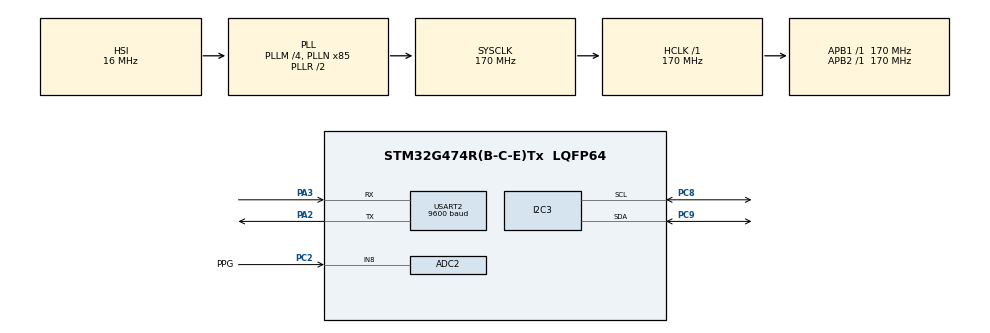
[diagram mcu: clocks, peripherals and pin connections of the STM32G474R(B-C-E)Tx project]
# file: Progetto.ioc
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<<<<<<< HEAD
ADC2.Channel-0\#ChannelRegularConversion=ADC_CHANNEL_8
ADC2.ClockPrescaler=ADC_CLOCK_ASYNC_DIV4
ADC2.DMAContinuousRequests=ENABLE
ADC2.ExternalTrigConv=ADC_EXTERNALTRIG_T2_TRGO
ADC2.NbrOfConversionFlag=1
ADC2.OffsetNumber-0\#ChannelRegularConversion=ADC_OFFSET_NONE
ADC2.Overrun=ADC_OVR_DATA_OVERWRITTEN
ADC2.Rank-0\#ChannelRegularConversion=1
ADC2.SamplingTime-0\#ChannelRegularConversion=ADC_SAMPLETIME_2CYCLES_5
Dma.ADC2.0.Direction=DMA_PERIPH_TO_MEMORY
Dma.ADC2.0.EventEnable=DISABLE
Dma.ADC2.0.Instance=DMA1_Channel1
Dma.ADC2.0.MemDataAlignment=DMA_MDATAALIGN_HALFWORD
Dma.ADC2.0.MemInc=DMA_MINC_ENABLE
Dma.ADC2.0.Mode=DMA_CIRCULAR
Dma.ADC2.0.PeriphDataAlignment=DMA_PDATAALIGN_HALFWORD
Dma.ADC2.0.PeriphInc=DMA_PINC_DISABLE
Dma.ADC2.0.Polarity=HAL_DMAMUX_REQ_GEN_RISING
Dma.ADC2.0.Priority=DMA_PRIORITY_LOW
Dma.ADC2.0.RequestNumber=1
Dma.ADC2.0.SignalID=NONE
Dma.ADC2.0.SyncEnable=DISABLE
Dma.ADC2.0.SyncPolarity=HAL_DMAMUX_SYNC_NO_EVENT
Dma.ADC2.0.SyncRequestNumber=1
Dma.ADC2.0.SyncSignalID=NONE
Dma.Request0=ADC2
I2C3.Timing=0x30A0A7FB
Mcu.Family=STM32G4
Mcu.Name=STM32G474R(B-C-E)Tx
Mcu.Package=LQFP64
NVIC.DMA1_Channel1_IRQn=true\:0\:0\:false\:false\:true\:false\:true\:true
NVIC.PriorityGroup=NVIC_PRIORITYGROUP_4
NVIC.TIM3_IRQn=true\:0\:0\:false\:false\:true\:true\:true\:true
PA2.Mode=Asynchronous
PA2.Signal=USART2_TX
PA3.Mode=Asynchronous
PA3.Signal=USART2_RX
PC2.GPIO_Label=PPG
PC2.Mode=IN8-Single-Ended
PC2.Signal=ADC2_IN8
PC8.GPIO_Pu=GPIO_PULLUP
PC8.Mode=I2C
PC8.Signal=I2C3_SCL
PC9.GPIO_Pu=GPIO_PULLUP
PC9.Mode=I2C
PC9.Signal=I2C3_SDA
ProjectManager.HeapSize=0x200
ProjectManager.StackSize=0x400
ProjectManager.TargetToolchain=STM32CubeIDE
RCC.ADC12Freq_Value=170000000
RCC.ADC345Freq_Value=170000000
RCC.AHBFreq_Value=170000000
RCC.APB1Freq_Value=170000000
RCC.APB1TimFreq_Value=170000000
RCC.APB2Freq_Value=170000000
RCC.APB2TimFreq_Value=170000000
RCC.CortexFreq_Value=170000000
RCC.EXTERNAL_CLOCK_VALUE=12288000
RCC.HCLKFreq_Value=170000000
RCC.HSE_VALUE=24000000
RCC.HSI48_VALUE=48000000
RCC.HSI_VALUE=16000000
RCC.LSE_VALUE=32768
RCC.PLLM=RCC_PLLM_DIV4
RCC.PLLN=85
RCC.RTCClockSelection=RCC_RTCCLKSOURCE_LSE
RCC.SYSCLKFreq_VALUE=170000000
RCC.SYSCLKSource=RCC_SYSCLKSOURCE_PLLCLK
RCC.USBFreq_Value=170000000
RCC.VCOOutputFreq_Value=340000000
TIM2.PeriodNoDither=9999
TIM2.Prescaler=169
TIM2.TIM_MasterOutputTrigger=TIM_TRGO_UPDATE
TIM2.TIM_MasterSlaveMode=TIM_MASTERSLAVEMODE_ENABLE
TIM3.ClockDivision=TIM_CLOCKDIVISION_DIV4
TIM3.PeriodNoDither=2999
TIM3.Prescaler=65535
TIM3.TIM_MasterOutputTrigger=TIM_TRGO_ENCODER_CLK
TIM3.TIM_MasterSlaveMode=TIM_MASTERSLAVEMODE_ENABLE
USART2.BaudRate=9600
USART2.VirtualMode-Asynchronous=VM_ASYNC
VP_SYS_VS_DBSignals.Mode=DisableDeadBatterySignals
VP_TIM2_VS_ClockSourceINT.Mode=Internal
VP_TIM3_VS_ClockSourceINT.Mode=Internal
board=NUCLEO-G474RE
=======
ADC2.Channel-0\#ChannelRegularConversion=ADC_CHANNEL_8
ADC2.ClockPrescaler=ADC_CLOCK_ASYNC_DIV4
ADC2.DMAContinuousRequests=ENABLE
ADC2.ExternalTrigConv=ADC_EXTERNALTRIG_T2_TRGO
ADC2.NbrOfConversionFlag=1
ADC2.OffsetNumber-0\#ChannelRegularConversion=ADC_OFFSET_NONE
ADC2.Overrun=ADC_OVR_DATA_OVERWRITTEN
ADC2.Rank-0\#ChannelRegularConversion=1
ADC2.SamplingTime-0\#ChannelRegularConversion=ADC_SAMPLETIME_2CYCLES_5
Dma.ADC2.0.Direction=DMA_PERIPH_TO_MEMORY
Dma.ADC2.0.EventEnable=DISABLE
Dma.ADC2.0.Instance=DMA1_Channel1
Dma.ADC2.0.MemDataAlignment=DMA_MDATAALIGN_HALFWORD
Dma.ADC2.0.MemInc=DMA_MINC_ENABLE
Dma.ADC2.0.Mode=DMA_CIRCULAR
Dma.ADC2.0.PeriphDataAlignment=DMA_PDATAALIGN_HALFWORD
Dma.ADC2.0.PeriphInc=DMA_PINC_DISABLE
Dma.ADC2.0.Polarity=HAL_DMAMUX_REQ_GEN_RISING
Dma.ADC2.0.Priority=DMA_PRIORITY_LOW
Dma.ADC2.0.RequestNumber=1
Dma.ADC2.0.SignalID=NONE
Dma.ADC2.0.SyncEnable=DISABLE
Dma.ADC2.0.SyncPolarity=HAL_DMAMUX_SYNC_NO_EVENT
Dma.ADC2.0.SyncRequestNumber=1
Dma.ADC2.0.SyncSignalID=NONE
Dma.Request0=ADC2
I2C3.Timing=0x30A0A7FB
Mcu.Family=STM32G4
Mcu.Name=STM32G474R(B-C-E)Tx
Mcu.Package=LQFP64
NVIC.DMA1_Channel1_IRQn=true\:0\:0\:false\:false\:true\:false\:true\:true
NVIC.PriorityGroup=NVIC_PRIORITYGROUP_4
NVIC.TIM3_IRQn=true\:0\:0\:false\:false\:true\:true\:true\:true
PA2.Mode=Asynchronous
PA2.Signal=USART2_TX
PA3.Mode=Asynchronous
PA3.Signal=USART2_RX
PC2.GPIO_Label=PPG
PC2.Mode=IN8-Single-Ended
PC2.Signal=ADC2_IN8
PC8.GPIO_Pu=GPIO_PULLUP
PC8.Mode=I2C
PC8.Signal=I2C3_SCL
PC9.GPIO_Pu=GPIO_PULLUP
PC9.Mode=I2C
PC9.Signal=I2C3_SDA
ProjectManager.HeapSize=0x200
ProjectManager.StackSize=0x400
ProjectManager.TargetToolchain=STM32CubeIDE
RCC.ADC12Freq_Value=170000000
RCC.ADC345Freq_Value=170000000
RCC.AHBFreq_Value=170000000
RCC.APB1Freq_Value=170000000
RCC.APB1TimFreq_Value=170000000
RCC.APB2Freq_Value=170000000
RCC.APB2TimFreq_Value=170000000
RCC.CortexFreq_Value=170000000
RCC.EXTERNAL_CLOCK_VALUE=12288000
RCC.HCLKFreq_Value=170000000
RCC.HSE_VALUE=24000000
RCC.HSI48_VALUE=48000000
RCC.HSI_VALUE=16000000
RCC.LSE_VALUE=32768
RCC.PLLM=RCC_PLLM_DIV4
RCC.PLLN=85
RCC.RTCClockSelection=RCC_RTCCLKSOURCE_LSE
RCC.SYSCLKFreq_VALUE=170000000
RCC.SYSCLKSource=RCC_SYSCLKSOURCE_PLLCLK
RCC.USBFreq_Value=170000000
RCC.VCOOutputFreq_Value=340000000
TIM2.PeriodNoDither=9999
TIM2.Prescaler=169
TIM2.TIM_MasterOutputTrigger=TIM_TRGO_UPDATE
TIM2.TIM_MasterSlaveMode=TIM_MASTERSLAVEMODE_ENABLE
TIM3.ClockDivision=TIM_CLOCKDIVISION_DIV4
TIM3.PeriodNoDither=2999
TIM3.Prescaler=65535
TIM3.TIM_MasterOutputTrigger=TIM_TRGO_ENCODER_CLK
TIM3.TIM_MasterSlaveMode=TIM_MASTERSLAVEMODE_ENABLE
USART2.BaudRate=9600
USART2.VirtualMode-Asynchronous=VM_ASYNC
VP_SYS_VS_DBSignals.Mode=DisableDeadBatterySignals
VP_TIM2_VS_ClockSourceINT.Mode=Internal
VP_TIM3_VS_ClockSourceINT.Mode=Internal
board=NUCLEO-G474RE
>>>>>>> 28daf54cedc09e66b1e0ef93a39caefa831e352b

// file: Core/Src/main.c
/* USER CODE BEGIN Header */
/**
  ******************************************************************************
  * @file           : main.c
  * @brief          : Main program body
  ******************************************************************************
  * @attention
  *
  * Copyright (c) 2024 STMicroelectronics.
  * All rights reserved.
  *
  * This software is licensed under terms that can be found in the LICENSE file
  * in the root directory of this software component.
  * If no LICENSE file comes with this software, it is provided AS-IS.
  *
  ******************************************************************************
  */
/* USER CODE END Header */
#include "main.h"
#include "adc.h"
#include "dma.h"
#include "i2c.h"
#include "tim.h"
#include "usart.h"
#include "gpio.h"

/* USER CODE BEGIN Includes */
#include "ssd1306.h"
#include "math.h"
#include "stdio.h"
#include "string.h"
#include <stdio.h>
#include "plot.h"
#include "ds3231.h"
/* USER CODE END Includes */

/* USER CODE BEGIN PV */
Date_Time date;
uint16_t data_out;
PlotData graph;
float peaks_x[MAX_POINTS];
float peaks_y[MAX_POINTS];
int num_peaks=0;
volatile int tim2_seconds_counter = 0;

/* USER CODE END PV */

void SystemClock_Config(void);

int main(void)
{

  /* MCU Configuration--------------------------------------------------------*/

  /* Reset of all peripherals, Initializes the Flash interface and the Systick. */
  HAL_Init();

  /* Configure the system clock */
  SystemClock_Config();

  /* Initialize all configured peripherals */
  MX_GPIO_Init();
  MX_DMA_Init();
  MX_ADC2_Init();
  MX_TIM2_Init();
  MX_I2C3_Init();
  MX_USART2_UART_Init();
  MX_TIM3_Init();
  /* USER CODE BEGIN 2 */
  ssd1306_Init(&hi2c3);
  HAL_TIM_Base_Start_IT(&htim3);

  /* USER CODE END 2 */

  /* Infinite loop */
  while (1)
  {

  }
}

void SystemClock_Config(void)
{
  RCC_OscInitTypeDef RCC_OscInitStruct = {0};
  RCC_ClkInitTypeDef RCC_ClkInitStruct = {0};

  /** Configure the main internal regulator output voltage
  */
  HAL_PWREx_ControlVoltageScaling(PWR_REGULATOR_VOLTAGE_SCALE1_BOOST);

  /** Initializes the RCC Oscillators according to the specified parameters
  * in the RCC_OscInitTypeDef structure.
  */
  RCC_OscInitStruct.OscillatorType = RCC_OSCILLATORTYPE_HSI;
  RCC_OscInitStruct.HSIState = RCC_HSI_ON;
  RCC_OscInitStruct.HSICalibrationValue = RCC_HSICALIBRATION_DEFAULT;
  RCC_OscInitStruct.PLL.PLLState = RCC_PLL_ON;
  RCC_OscInitStruct.PLL.PLLSource = RCC_PLLSOURCE_HSI;
  RCC_OscInitStruct.PLL.PLLM = RCC_PLLM_DIV4;
  RCC_OscInitStruct.PLL.PLLN = 85;
  RCC_OscInitStruct.PLL.PLLP = RCC_PLLP_DIV2;
  RCC_OscInitStruct.PLL.PLLQ = RCC_PLLQ_DIV2;
  RCC_OscInitStruct.PLL.PLLR = RCC_PLLR_DIV2;
  if (HAL_RCC_OscConfig(&RCC_OscInitStruct) != HAL_OK)
  {
    Error_Handler();
  }

  /** Initializes the CPU, AHB and APB buses clocks
  */
  RCC_ClkInitStruct.ClockType = RCC_CLOCKTYPE_HCLK|RCC_CLOCKTYPE_SYSCLK
                              |RCC_CLOCKTYPE_PCLK1|RCC_CLOCKTYPE_PCLK2;
  RCC_ClkInitStruct.SYSCLKSource = RCC_SYSCLKSOURCE_PLLCLK;
  RCC_ClkInitStruct.AHBCLKDivider = RCC_SYSCLK_DIV1;
  RCC_ClkInitStruct.APB1CLKDivider = RCC_HCLK_DIV1;
  RCC_ClkInitStruct.APB2CLKDivider = RCC_HCLK_DIV1;

  if (HAL_RCC_ClockConfig(&RCC_ClkInitStruct, FLASH_LATENCY_4) != HAL_OK)
  {
    Error_Handler();
  }
}

/* USER CODE BEGIN 4 */

void HAL_ADC_ConvCpltCallback(ADC_HandleTypeDef* hadc){

	 Get_Date(&date, &hi2c3 );

	 char msg[100];
	 char bpm[30];

	 sprintf(msg, "%d/%d/%d  %d:%d:%d \n\r%d\n\r",date.Year,date.Month ,date.Date, date.Hours, date.Minutes, date.Seconds, data_out);
	 HAL_UART_Transmit(&huart2, (uint8_t*)msg, strlen(msg), HAL_MAX_DELAY);

	 add_point(&graph, graph.num_points, data_out);

	detect_peaks(&graph, peaks_x, peaks_y,  &num_peaks);
	if (num_peaks > 1) {
		float interval = (1/ ((peaks_x[num_peaks-1] - peaks_x[num_peaks-2])+(peaks_x[num_peaks-2] - peaks_x[num_peaks-3]))/2);
		sprintf(bpm, "%.0f bpm ", (6 / interval));
		ssd1306_SetCursor(10, 50);
		ssd1306_WriteString(bpm, Font_7x10, White);
	}

	 ssd1306_SetCursor(40, 50);
	 ssd1306_WriteString(msg, Font_7x10, White);
	 ssd1306_ScrollLeft();
	 ssd1306_UpdateScreen(&hi2c3);

}

void HAL_TIM_PeriodElapsedCallback(TIM_HandleTypeDef *htim){
	if (htim->Instance == TIM3)
	    {
	        tim2_seconds_counter = 0;
	        HAL_TIM_Base_Start_IT(&htim2);
	        HAL_ADC_Start_DMA(&hadc2, (uint32_t*)&data_out, 1);
	        HAL_TIM_Base_Stop_IT(&htim3);
	    }
	else if (htim->Instance == TIM2){
		tim2_seconds_counter++;
		if (tim2_seconds_counter >= 10)
		{
			HAL_TIM_Base_Stop_IT(&htim2);
			HAL_ADC_Stop_DMA(&hadc2);
		}
	}

}

/* USER CODE END 4 */

void Error_Handler(void)
{
  __disable_irq();
  while (1)
  {
  }
}
